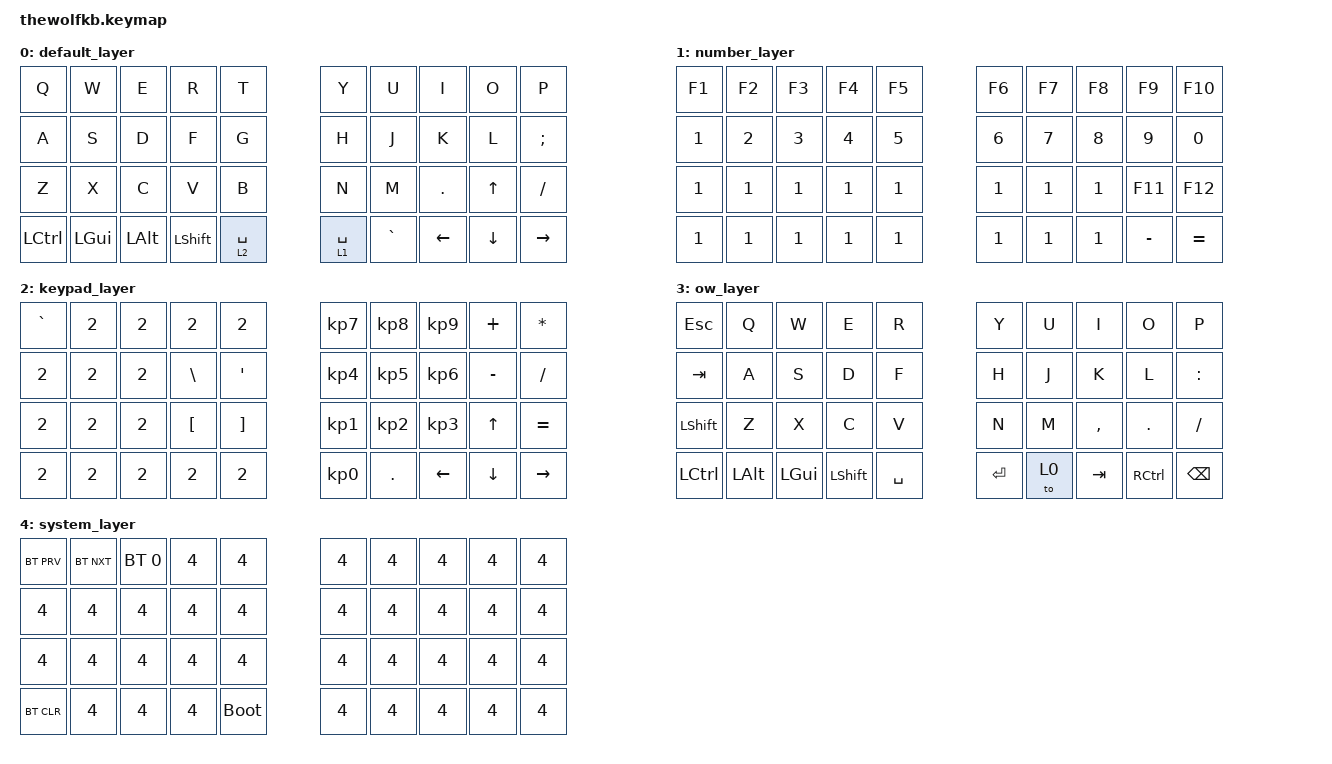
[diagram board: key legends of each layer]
#include <behaviors.dtsi>
#include <dt-bindings/zmk/bt.h>
#include <dt-bindings/zmk/keys.h>
#include <dt-bindings/zmk/outputs.h>

/ {
    //新增複數按鍵的組合
    combos
    {
        compatible = "zmk,combos";
        //組合按鍵名稱
        combo_bt{
            //按鍵組合的延遲(在幾秒內必須按下這兩個按鍵)
            timeout-ms = <50>;
            //按鍵陣列的組合Q+T
            key-positions = <0 4>;
            bindings = <&out OUT_TOG>;
        };

        combo_enter{
            timeout-ms = <50>;
            key-positions = <18 19>;
            bindings = <&kp RETURN>;
        };

        combo_delete{
            timeout-ms = <50>;
            key-positions = <8 9>;
            bindings = <&kp BACKSPACE>;
        };
        
        combo_comma{
            timeout-ms = <50>;
            key-positions = <26 27>;
            bindings = <&kp COMMA>;
            layers = <0>;
        };

        combo_single_quote{
            timeout-ms = <50>;
            key-positions = <28 29>;
            bindings = <&kp SINGLE_QUOTE>;
            layers = <0>;
        };

        combo_esc{
            timeout-ms = <50>;
            key-positions = <0 1>;
            bindings = <&kp ESC>;
            layers = <0>;
        };

        combo_tab{
            timeout-ms = <50>;
            key-positions = <10 11>;
            bindings = <&kp TAB>;
            layers = <0>;
        };
        
        combo_page_up{
            timeout-ms = <50>;
            key-positions = <28 39>;
            bindings = <&kp PAGE_UP>;
            layers = <0>;
        };
        
        combo_page_down{
            timeout-ms = <50>;
            key-positions = <38 39>;
            bindings = <&kp PAGE_DOWN>;
            layers = <0>;
        };
        
        combo_home{
            timeout-ms = <50>;
            key-positions = <28 37>;
            bindings = <&kp HOME>;
            layers = <0>;
        };

        combo_end{
            timeout-ms = <50>;
            key-positions = <37 38>;
            bindings = <&kp END>;
            layers = <0>;
        };

        combo_ow{
            timeout-ms = <50>;
            key-positions = <5 9>;
            bindings = <&to 3>;
            layers = <0>;
        };

        combo_system{
            timeout-ms = <50>;
            key-positions = <35 39>;
            bindings = <&mo 4>;
            layers = <0>;
        };

    };

    keymap
    {
        compatible = "zmk,keymap";

        default_layer
        {
            bindings = <
                &kp Q       &kp W           &kp E           &kp R       &kp T           &kp Y           &kp U           &kp I       &kp O       &kp P 
                &kp A       &kp S           &kp D           &kp F       &kp G           &kp H           &kp J           &kp K       &kp L       &kp SEMICOLON 
                &kp Z       &kp X           &kp C           &kp V       &kp B           &kp N           &kp M           &kp DOT   &kp UP      &kp SLASH 
                &kp LCTRL   &kp LEFT_GUI    &kp LEFT_ALT    &kp LSHIFT  &lt 2 SPACE     &lt 1 SPACE     &kp GRAVE   &kp LEFT    &kp DOWN    &kp RIGHT>;
        };

        number_layer
        {
            bindings = <
                &kp F1  &kp F2  &kp F3      &kp F4          &kp F5        &kp F6  &kp F7  &kp F8      &kp F9    &kp F10
                &kp N1  &kp N2  &kp N3      &kp N4          &kp N5        &kp N6  &kp N7  &kp N8      &kp N9    &kp N0
                &kp N1  &kp N1  &kp N1      &kp N1          &kp N1        &kp N1  &kp N1  &kp N1      &kp F11   &kp F12
                &kp N1  &kp N1  &kp N1      &kp N1          &kp N1        &kp N1  &kp N1  &kp N1      &kp MINUS &kp EQUAL>;
        };

        keypad_layer
        {
            bindings = <
                &kp GRAVE  &kp N2  &kp N2  &kp N2              &kp N2              &kp KP_N7  &kp KP_N8    &kp KP_N9   &kp PLUS   &kp ASTERISK 
                &kp N2  &kp N2  &kp N2  &kp BACKSLASH       &kp SINGLE_QUOTE    &kp KP_N4  &kp KP_N5    &kp KP_N6   &kp MINUS  &kp SLASH 
                &kp N2  &kp N2  &kp N2  &kp LEFT_BRACKET    &kp RIGHT_BRACKET   &kp KP_N1  &kp KP_N2    &kp KP_N3   &kp UP     &kp EQUAL 
                &kp N2  &kp N2  &kp N2  &kp N2              &kp N2              &kp KP_N0  &kp DOT      &kp LEFT    &kp DOWN   &kp RIGHT>;
        };

        ow_layer
        {
            bindings = <
                &kp ESC     &kp Q           &kp W           &kp E       &kp R           &kp Y       &kp U           &kp I       &kp O       &kp P 
                &kp TAB     &kp A           &kp S           &kp D       &kp F           &kp H       &kp J           &kp K       &kp L       &kp COLON 
                &kp LSHIFT  &kp Z           &kp X           &kp C       &kp V           &kp N       &kp M           &kp COMMA   &kp DOT     &kp SLASH 
                &kp LCTRL   &kp LEFT_ALT    &kp LEFT_GUI    &kp LSHIFT  &kp SPACE       &kp RETURN  &to 0   &kp TAB     &kp RCTRL   &kp BACKSPACE>;
        };
        
        system_layer
        {
            bindings = <
                &bt BT_PRV  &bt BT_NXT &bt BT_SEL 0  &kp N4 &kp N4                      &kp N4      &kp N4    &kp N4   &kp N4   &kp N4 
                &kp N4      &kp N4    &kp N4    &kp N4     &kp N4                       &kp N4      &kp N4    &kp N4   &kp N4   &kp N4 
                &kp N4      &kp N4    &kp N4    &kp N4     &kp N4                       &kp N4      &kp N4    &kp N4   &kp N4   &kp N4 
                &bt BT_CLR  &kp N4    &kp N4    &kp N4     &bootloader                  &kp N4      &kp N4    &kp N4   &kp N4   &kp N4>;
        };

        
    };
};
